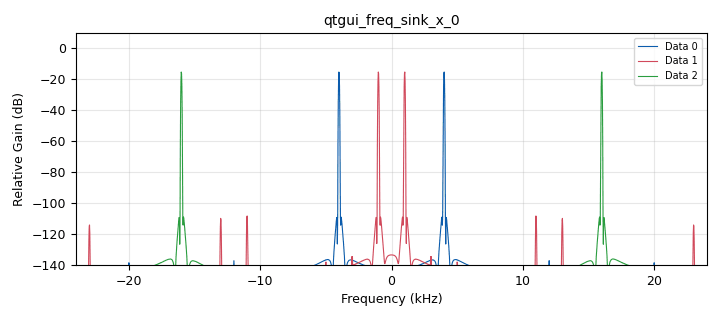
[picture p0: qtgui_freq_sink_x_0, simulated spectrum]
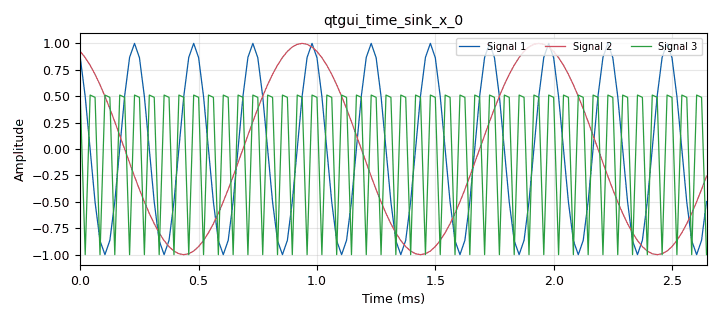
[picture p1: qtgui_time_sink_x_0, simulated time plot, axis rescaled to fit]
options:
  parameters:
    author: Grupo_3
    generate_options: qt_gui
    id: Deiby_Ariza_William_Parra_B1C_G3
    output_language: python
    title: Primer Flujorama
  states: {}

blocks:
- name: freq
  id: variable_qtgui_range
  parameters:
    label: Frequency
    start: '1000'
    step: '1000'
    stop: '40000'
    value: '4000'
  states: {}
- name: frequency
  id: variable
  parameters:
    value: samp_rate/3
  states: {state: disabled}
- name: samp_rate
  id: variable
  parameters:
    value: '48000'
  states: {}
- name: samp_rate
  id: variable_qtgui_range
  parameters:
    label: Frecuencia de muestreo
    start: '1000'
    step: '1000'
    stop: '80000'
    value: '50000'
  states: {state: disabled}
- name: analog_sig_source_x_0
  id: analog_sig_source_x
  parameters:
    amp: '1'
    freq: freq
    offset: '0'
    phase: '0'
    samp_rate: samp_rate
    type: float
    waveform: analog.GR_SIN_WAVE
  states: {}
- name: analog_sig_source_x_0_0
  id: analog_sig_source_x
  parameters:
    amp: '1'
    freq: freq
    offset: '0'
    phase: '0'
    samp_rate: samp_rate
    type: float
    waveform: analog.GR_SIN_WAVE
  states: {}
- name: analog_sig_source_x_0_1
  id: analog_sig_source_x
  parameters:
    amp: '1'
    freq: freq
    offset: '0'
    phase: '0'
    samp_rate: samp_rate
    type: float
    waveform: analog.GR_SIN_WAVE
  states: {}
- name: blocks_throttle_0
  id: blocks_throttle
  parameters:
    samples_per_second: samp_rate
    type: float
  states: {}
- name: qtgui_freq_sink_x_0
  id: qtgui_freq_sink_x
  parameters:
    bw: samp_rate
    fc: '0'
    fftsize: '2048'
    nconnections: '3'
    type: float
  states: {}
- name: qtgui_time_sink_x_0
  id: qtgui_time_sink_x
  parameters:
    nconnections: '3'
    size: '128'
    srate: samp_rate
    type: float
    ymax: '5'
    ymin: '0'
  states: {}
- name: rational_resampler_xxx_0
  id: rational_resampler_xxx
  parameters:
    decim: '1'
    interp: '4'
    type: fff
  states: {}
- name: rational_resampler_xxx_0_0
  id: rational_resampler_xxx
  parameters:
    decim: '4'
    interp: '1'
    type: fff
  states: {}
- name: rational_resampler_xxx_0_1
  id: rational_resampler_xxx
  parameters:
    decim: '1'
    interp: '1'
    type: fff
  states: {}

connections:
- [analog_sig_source_x_0, '0', rational_resampler_xxx_0_1, '0']
- [analog_sig_source_x_0_0, '0', rational_resampler_xxx_0, '0']
- [analog_sig_source_x_0_1, '0', rational_resampler_xxx_0_0, '0']
- [blocks_throttle_0, '0', qtgui_freq_sink_x_0, '0']
- [blocks_throttle_0, '0', qtgui_time_sink_x_0, '0']
- [rational_resampler_xxx_0, '0', qtgui_freq_sink_x_0, '1']
- [rational_resampler_xxx_0, '0', qtgui_time_sink_x_0, '1']
- [rational_resampler_xxx_0_0, '0', qtgui_freq_sink_x_0, '2']
- [rational_resampler_xxx_0_0, '0', qtgui_time_sink_x_0, '2']
- [rational_resampler_xxx_0_1, '0', blocks_throttle_0, '0']

metadata:
  file_format: 1
  grc_version: 3.10.5.1
